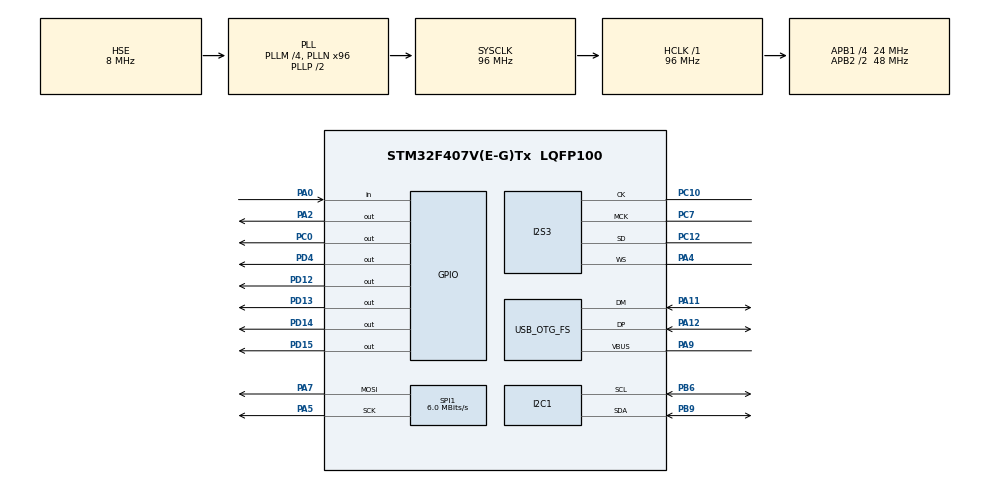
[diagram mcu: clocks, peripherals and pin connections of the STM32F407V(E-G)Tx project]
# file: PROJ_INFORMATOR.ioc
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Dma.Request0=SPI3_TX
Dma.SPI3_TX.0.Direction=DMA_MEMORY_TO_PERIPH
Dma.SPI3_TX.0.FIFOMode=DMA_FIFOMODE_ENABLE
Dma.SPI3_TX.0.FIFOThreshold=DMA_FIFO_THRESHOLD_FULL
Dma.SPI3_TX.0.Instance=DMA1_Stream5
Dma.SPI3_TX.0.MemBurst=DMA_MBURST_SINGLE
Dma.SPI3_TX.0.MemDataAlignment=DMA_MDATAALIGN_HALFWORD
Dma.SPI3_TX.0.MemInc=DMA_MINC_ENABLE
Dma.SPI3_TX.0.Mode=DMA_CIRCULAR
Dma.SPI3_TX.0.PeriphBurst=DMA_PBURST_SINGLE
Dma.SPI3_TX.0.PeriphDataAlignment=DMA_PDATAALIGN_HALFWORD
Dma.SPI3_TX.0.PeriphInc=DMA_PINC_DISABLE
Dma.SPI3_TX.0.Priority=DMA_PRIORITY_LOW
FREERTOS.Tasks01=defaultTask,0,128,StartDefaultTask,Default,NULL,Dynamic,NULL,NULL;myTask02,0,128,StartTask02,Default,NULL,Dynamic,NULL,NULL;myTask03,0,128,StartTask03,Default,NULL,Dynamic,NULL,NULL;myTask04,0,128,StartTask04,Default,NULL,Dynamic,NULL,NULL
I2S3.AudioFreq=I2S_AUDIOFREQ_44K
I2S3.ErrorAudioFreq=1.35 %
I2S3.FullDuplexMode=I2S_FULLDUPLEXMODE_DISABLE
I2S3.Instance=SPI$Index
I2S3.RealAudioFreq=44.596 KHz
I2S3.VirtualMode=I2S_MODE_MASTER
Mcu.Family=STM32F4
Mcu.Name=STM32F407V(E-G)Tx
Mcu.Package=LQFP100
NVIC.DMA1_Stream5_IRQn=true\:5\:0\:false\:false\:true\:true\:false\:true
NVIC.OTG_FS_IRQn=true\:5\:0\:false\:false\:true\:true\:false\:true
NVIC.PriorityGroup=NVIC_PRIORITYGROUP_4
NVIC.TIM6_DAC_IRQn=true\:0\:0\:false\:false\:true\:false\:false\:true
NVIC.TimeBase=TIM6_DAC_IRQn
NVIC.TimeBaseIP=TIM6
PA0-WKUP.Signal=GPIO_Input
PA11.Mode=Host_Only
PA11.Signal=USB_OTG_FS_DM
PA12.Mode=Host_Only
PA12.Signal=USB_OTG_FS_DP
PA13.Mode=Serial_Wire
PA13.Signal=SYS_JTMS-SWDIO
PA14.Mode=Serial_Wire
PA14.Signal=SYS_JTCK-SWCLK
PA2.Signal=GPIO_Output
PA4.Mode=Half_Duplex_Master
PA4.Signal=I2S3_WS
PA5.Mode=TX_Only_Simplex_Unidirect_Master
PA5.Signal=SPI1_SCK
PA7.Mode=TX_Only_Simplex_Unidirect_Master
PA7.Signal=SPI1_MOSI
PA9.Mode=Activate_VBUS
PA9.Signal=USB_OTG_FS_VBUS
PB6.Mode=I2C
PB6.Signal=I2C1_SCL
PB9.Mode=I2C
PB9.Signal=I2C1_SDA
PC0.PinState=GPIO_PIN_SET
PC0.Signal=GPIO_Output
PC10.Mode=Half_Duplex_Master
PC10.Signal=I2S3_CK
PC12.Mode=Half_Duplex_Master
PC12.Signal=I2S3_SD
PC7.Mode=Master_Clock_Activated
PC7.Signal=I2S3_MCK
PD12.Signal=GPIO_Output
PD13.Signal=GPIO_Output
PD14.Signal=GPIO_Output
PD15.Signal=GPIO_Output
PD4.Signal=GPIO_Output
PH0-OSC_IN.Mode=HSE-External-Oscillator
PH0-OSC_IN.Signal=RCC_OSC_IN
PH1-OSC_OUT.Mode=HSE-External-Oscillator
PH1-OSC_OUT.Signal=RCC_OSC_OUT
ProjectManager.HeapSize=0x200
ProjectManager.StackSize=0x400
ProjectManager.TargetToolchain=STM32CubeIDE
RCC.48MHZClocksFreq_Value=48000000
RCC.AHBFreq_Value=96000000
RCC.APB1CLKDivider=RCC_HCLK_DIV4
RCC.APB1Freq_Value=24000000
RCC.APB1TimFreq_Value=48000000
RCC.APB2CLKDivider=RCC_HCLK_DIV2
RCC.APB2Freq_Value=48000000
RCC.APB2TimFreq_Value=96000000
RCC.CortexFreq_Value=96000000
RCC.HCLKFreq_Value=96000000
RCC.HSE_VALUE=8000000
RCC.HSI_VALUE=16000000
RCC.LSE_VALUE=32768
RCC.PLLI2SN=137
RCC.PLLI2SR=6
RCC.PLLM=4
RCC.PLLN=96
RCC.SYSCLKFreq_VALUE=96000000
RCC.SYSCLKSource=RCC_SYSCLKSOURCE_PLLCLK
RCC.VCOOutputFreq_Value=192000000
SPI1.BaudRatePrescaler=SPI_BAUDRATEPRESCALER_8
SPI1.CalculateBaudRate=6.0 MBits/s
SPI1.DataSize=SPI_DATASIZE_16BIT
SPI1.Direction=SPI_DIRECTION_2LINES
SPI1.Mode=SPI_MODE_MASTER
SPI1.VirtualType=VM_MASTER
USB_HOST.USBH_HandleTypeDef-MSC_FS=hUsbHostFS
USB_HOST.USBH_KEEP_CFG_DESCRIPTOR-MSC_FS=0
USB_HOST.USBH_MAX_SIZE_CONFIGURATION-MSC_FS=512
USB_HOST.USBH_PROCESS_STACK_SIZE-MSC_FS=1024
USB_HOST.USBH_USE_OS-MSC_FS=0
USB_HOST.VirtualModeFS=Msc
USB_OTG_FS.VirtualMode=Host_Only
USB_OTG_FS.phy_itface=HCD_PHY_EMBEDDED
VP_FATFS_VS_USB.Mode=USB
VP_FREERTOS_VS_CMSIS_V1.Mode=CMSIS_V1
VP_SYS_VS_tim6.Mode=TIM6
VP_USB_HOST_VS_USB_HOST_MSC_FS.Mode=MSC_FS
board=custom

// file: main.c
/* USER CODE BEGIN Header */
/**
  ******************************************************************************
  * @file           : main.c
  * @brief          : Main program body
  ******************************************************************************
  * @attention
  *
  * <h2><center>&copy; Copyright (c) 2024 STMicroelectronics.
  * All rights reserved.</center></h2>
  *
  * This software component is licensed by ST under Ultimate Liberty license
  * SLA0044, the "License"; You may not use this file except in compliance with
  * the License. You may obtain a copy of the License at:
  *                             www.st.com/SLA0044
  *
  ******************************************************************************
  */
/* USER CODE END Header */
#include "main.h"
#include "cmsis_os.h"
#include "fatfs.h"
#include "usb_host.h"

/* USER CODE BEGIN Includes */
#include "audioI2S.h"
#include "MY_CS43L22.h"
#include "wav_player.h"
#include "scroll.h"
#include "delay.h"
#include "ledmatrix.h"
#include "font.h"
#include "7219.h"
/* USER CODE END Includes */

/* USER CODE BEGIN PTD */
extern ApplicationTypeDef Appli_state;
USBH_HandleTypeDef hUsbHostFS;
/* USER CODE END PTD */

I2C_HandleTypeDef hi2c1;

I2S_HandleTypeDef hi2s3;
DMA_HandleTypeDef hdma_spi3_tx;

SPI_HandleTypeDef hspi1;

osThreadId defaultTaskHandle;
osThreadId myTask02Handle;
osThreadId myTask03Handle;
osThreadId myTask04Handle;
/* USER CODE BEGIN PV */

// Файлы воспроизведения, хранящиеся на флешке
#define WAV_FILE1 "1.wav"
#define WAV_FILE2 "2.wav"
#define WAV_FILE3 "3.wav"
#define WAV_FILE4 "4.wav"

/* USER CODE END PV */

void SystemClock_Config(void);
static void MX_GPIO_Init(void);
static void MX_DMA_Init(void);
static void MX_I2C1_Init(void);
static void MX_I2S3_Init(void);
static void MX_SPI1_Init(void);
void StartDefaultTask(void const * argument);
void StartTask02(void const * argument);
void StartTask03(void const * argument);
void StartTask04(void const * argument);

/* USER CODE BEGIN PFP */
bool isSdCardMounted = 0; // Флаг для монтирования флешки
int flag_audio = 0;		// Флаг установки и запуска аудиозаписи

/* USER CODE END PFP */

int main(void)
{

  /* MCU Configuration--------------------------------------------------------*/

  /* Reset of all peripherals, Initializes the Flash interface and the Systick. */
  HAL_Init();

  /* Configure the system clock */
  SystemClock_Config();

  /* Initialize all configured peripherals */
  MX_GPIO_Init();
  MX_DMA_Init();
  MX_I2C1_Init();
  MX_I2S3_Init();
  MX_FATFS_Init();
  MX_SPI1_Init();
  /* USER CODE BEGIN 2 */

  CS43_Init(hi2c1, MODE_I2S); // Иницализация микросхемы CS43L52
  CS43_SetVolume(225);
  CS43_Enable_RightLeft(CS43_RIGHT_LEFT);	// Включены правый и левый каналы динамика

  audioI2S_setHandle(&hi2s3);

  init();  // Инициализация MAX7219

  /* USER CODE END 2 */

  /* Create the thread(s) */
  /* definition and creation of defaultTask */
  // Задача инициализации USB-хоста

  osThreadDef(defaultTask, StartDefaultTask, osPriorityNormal, 0, 128);
  defaultTaskHandle = osThreadCreate(osThread(defaultTask), NULL);

  /* definition and creation of myTask02 */
  // Задача по отображению информации на индикаторе

  osThreadDef(myTask02, StartTask02, osPriorityNormal, 0, 128);
  myTask02Handle = osThreadCreate(osThread(myTask02), NULL);

  /* definition and creation of myTask03 */
  // Задача по запуску работы USB-хоста

  osThreadDef(myTask03, StartTask03, osPriorityNormal, 0, 128);
  myTask03Handle = osThreadCreate(osThread(myTask03), NULL);

  /* definition and creation of myTask04 */
  // Задача воспроизведения аудиофайла

  osThreadDef(myTask04, StartTask04, osPriorityHigh, 0, 128);
  myTask04Handle = osThreadCreate(osThread(myTask04), NULL);

  /* Start scheduler */
  osKernelStart();

  /* We should never get here as control is now taken by the scheduler */
  /* Infinite loop */
  while (1)
  {

  }
}

void SystemClock_Config(void)
{
  RCC_OscInitTypeDef RCC_OscInitStruct = {0};
  RCC_ClkInitTypeDef RCC_ClkInitStruct = {0};
  RCC_PeriphCLKInitTypeDef PeriphClkInitStruct = {0};

  /** Configure the main internal regulator output voltage
  */
  __HAL_RCC_PWR_CLK_ENABLE();
  __HAL_PWR_VOLTAGESCALING_CONFIG(PWR_REGULATOR_VOLTAGE_SCALE1);
  /** Initializes the RCC Oscillators according to the specified parameters
  * in the RCC_OscInitTypeDef structure.
  */
  RCC_OscInitStruct.OscillatorType = RCC_OSCILLATORTYPE_HSE;
  RCC_OscInitStruct.HSEState = RCC_HSE_ON;
  RCC_OscInitStruct.PLL.PLLState = RCC_PLL_ON;
  RCC_OscInitStruct.PLL.PLLSource = RCC_PLLSOURCE_HSE;
  RCC_OscInitStruct.PLL.PLLM = 4;
  RCC_OscInitStruct.PLL.PLLN = 96;
  RCC_OscInitStruct.PLL.PLLP = RCC_PLLP_DIV2;
  RCC_OscInitStruct.PLL.PLLQ = 4;
  if (HAL_RCC_OscConfig(&RCC_OscInitStruct) != HAL_OK)
  {
    Error_Handler();
  }
  /** Initializes the CPU, AHB and APB buses clocks
  */
  RCC_ClkInitStruct.ClockType = RCC_CLOCKTYPE_HCLK|RCC_CLOCKTYPE_SYSCLK
                              |RCC_CLOCKTYPE_PCLK1|RCC_CLOCKTYPE_PCLK2;
  RCC_ClkInitStruct.SYSCLKSource = RCC_SYSCLKSOURCE_PLLCLK;
  RCC_ClkInitStruct.AHBCLKDivider = RCC_SYSCLK_DIV1;
  RCC_ClkInitStruct.APB1CLKDivider = RCC_HCLK_DIV4;
  RCC_ClkInitStruct.APB2CLKDivider = RCC_HCLK_DIV2;

  if (HAL_RCC_ClockConfig(&RCC_ClkInitStruct, FLASH_LATENCY_3) != HAL_OK)
  {
    Error_Handler();
  }
  PeriphClkInitStruct.PeriphClockSelection = RCC_PERIPHCLK_I2S;
  PeriphClkInitStruct.PLLI2S.PLLI2SN = 137;
  PeriphClkInitStruct.PLLI2S.PLLI2SR = 6;
  if (HAL_RCCEx_PeriphCLKConfig(&PeriphClkInitStruct) != HAL_OK)
  {
    Error_Handler();
  }
}

static void MX_I2C1_Init(void)
{

  hi2c1.Instance = I2C1;
  hi2c1.Init.ClockSpeed = 100000;
  hi2c1.Init.DutyCycle = I2C_DUTYCYCLE_2;
  hi2c1.Init.OwnAddress1 = 0;
  hi2c1.Init.AddressingMode = I2C_ADDRESSINGMODE_7BIT;
  hi2c1.Init.DualAddressMode = I2C_DUALADDRESS_DISABLE;
  hi2c1.Init.OwnAddress2 = 0;
  hi2c1.Init.GeneralCallMode = I2C_GENERALCALL_DISABLE;
  hi2c1.Init.NoStretchMode = I2C_NOSTRETCH_DISABLE;
  if (HAL_I2C_Init(&hi2c1) != HAL_OK)
  {
    Error_Handler();
  }

}

static void MX_I2S3_Init(void)
{

  hi2s3.Instance = SPI3;
  hi2s3.Init.Mode = I2S_MODE_MASTER_TX;
  hi2s3.Init.Standard = I2S_STANDARD_PHILIPS;
  hi2s3.Init.DataFormat = I2S_DATAFORMAT_16B;
  hi2s3.Init.MCLKOutput = I2S_MCLKOUTPUT_ENABLE;
  hi2s3.Init.AudioFreq = I2S_AUDIOFREQ_44K;
  hi2s3.Init.CPOL = I2S_CPOL_LOW;
  hi2s3.Init.ClockSource = I2S_CLOCK_PLL;
  hi2s3.Init.FullDuplexMode = I2S_FULLDUPLEXMODE_DISABLE;
  if (HAL_I2S_Init(&hi2s3) != HAL_OK)
  {
    Error_Handler();
  }

}

static void MX_SPI1_Init(void)
{

  /* SPI1 parameter configuration*/
  hspi1.Instance = SPI1;
  hspi1.Init.Mode = SPI_MODE_MASTER;
  hspi1.Init.Direction = SPI_DIRECTION_2LINES;
  hspi1.Init.DataSize = SPI_DATASIZE_16BIT;
  hspi1.Init.CLKPolarity = SPI_POLARITY_LOW;
  hspi1.Init.CLKPhase = SPI_PHASE_1EDGE;
  hspi1.Init.NSS = SPI_NSS_SOFT;
  hspi1.Init.BaudRatePrescaler = SPI_BAUDRATEPRESCALER_8;
  hspi1.Init.FirstBit = SPI_FIRSTBIT_MSB;
  hspi1.Init.TIMode = SPI_TIMODE_DISABLE;
  hspi1.Init.CRCCalculation = SPI_CRCCALCULATION_DISABLE;
  hspi1.Init.CRCPolynomial = 10;
  if (HAL_SPI_Init(&hspi1) != HAL_OK)
  {
    Error_Handler();
  }

}

static void MX_DMA_Init(void)
{

  /* DMA controller clock enable */
  __HAL_RCC_DMA1_CLK_ENABLE();

  /* DMA interrupt init */
  /* DMA1_Stream5_IRQn interrupt configuration */
  HAL_NVIC_SetPriority(DMA1_Stream5_IRQn, 5, 0);
  HAL_NVIC_EnableIRQ(DMA1_Stream5_IRQn);

}

static void MX_GPIO_Init(void)
{
  GPIO_InitTypeDef GPIO_InitStruct = {0};

  /* GPIO Ports Clock Enable */
  __HAL_RCC_GPIOH_CLK_ENABLE();
  __HAL_RCC_GPIOC_CLK_ENABLE();
  __HAL_RCC_GPIOA_CLK_ENABLE();
  __HAL_RCC_GPIOD_CLK_ENABLE();
  __HAL_RCC_GPIOB_CLK_ENABLE();

  /*Configure GPIO pin Output Level */
  HAL_GPIO_WritePin(GPIOC, GPIO_PIN_0, GPIO_PIN_SET);

  /*Configure GPIO pin Output Level */
  HAL_GPIO_WritePin(GPIOA, GPIO_PIN_2, GPIO_PIN_RESET);

  /*Configure GPIO pin Output Level */
  HAL_GPIO_WritePin(GPIOD, GPIO_PIN_12|GPIO_PIN_13|GPIO_PIN_14|GPIO_PIN_15
                          |GPIO_PIN_4, GPIO_PIN_RESET);

  /*Configure GPIO pin : PC0 */
  GPIO_InitStruct.Pin = GPIO_PIN_0;
  GPIO_InitStruct.Mode = GPIO_MODE_OUTPUT_PP;
  GPIO_InitStruct.Pull = GPIO_NOPULL;
  GPIO_InitStruct.Speed = GPIO_SPEED_FREQ_LOW;
  HAL_GPIO_Init(GPIOC, &GPIO_InitStruct);

  /*Configure GPIO pin : PA0 */
  GPIO_InitStruct.Pin = GPIO_PIN_0;
  GPIO_InitStruct.Mode = GPIO_MODE_INPUT;
  GPIO_InitStruct.Pull = GPIO_NOPULL;
  HAL_GPIO_Init(GPIOA, &GPIO_InitStruct);

  /*Configure GPIO pin : PA2 */
  GPIO_InitStruct.Pin = GPIO_PIN_2;
  GPIO_InitStruct.Mode = GPIO_MODE_OUTPUT_PP;
  GPIO_InitStruct.Pull = GPIO_NOPULL;
  GPIO_InitStruct.Speed = GPIO_SPEED_FREQ_LOW;
  HAL_GPIO_Init(GPIOA, &GPIO_InitStruct);

  /*Configure GPIO pins : PD12 PD13 PD14 PD15
                           PD4 */
  GPIO_InitStruct.Pin = GPIO_PIN_12|GPIO_PIN_13|GPIO_PIN_14|GPIO_PIN_15
                          |GPIO_PIN_4;
  GPIO_InitStruct.Mode = GPIO_MODE_OUTPUT_PP;
  GPIO_InitStruct.Pull = GPIO_NOPULL;
  GPIO_InitStruct.Speed = GPIO_SPEED_FREQ_LOW;
  HAL_GPIO_Init(GPIOD, &GPIO_InitStruct);

}

void StartDefaultTask(void const * argument)
{
  /* init code for USB_HOST */
  MX_USB_HOST_Init();
  for(;;)
  {
    osDelay(1);
  }
}

void StartTask02(void const * argument)
{
  /* USER CODE BEGIN StartTask02 */
  /* Infinite loop */

  for(;;)
  {
	  //Piter_bus(); // Воспроизведение остановок Питерского маршрута (автобус)
	  Nevelsk_bus(); // Воспроизведение остановок Невельского маршрута (автобус)

	  osDelay(100);
  }

  /* USER CODE END StartTask02 */
}

void StartTask03(void const * argument)
{
  /* USER CODE BEGIN StartTask03 */
  /* Infinite loop */
  for(;;)
  {
	  USBH_Process(&hUsbHostFS);
	  osDelay(10);
  }
  /* USER CODE END StartTask03 */
}

void StartTask04(void const * argument)
{
  /* USER CODE BEGIN StartTask04 */
  /* Infinite loop */
  for(;;)
  {
	  // Запуск информатора по кнопке. Если кнопка не нажата, информатор выключен
	  while(HAL_GPIO_ReadPin(GPIOA, GPIO_PIN_0) && flag_audio == 0)
	  {
		  flag_audio = 1;
	  }

	  // Воспроизведение аудио после нажатия
	  if(!HAL_GPIO_ReadPin(GPIOA, GPIO_PIN_0) && flag_audio == 1)
	  {
		  // Если флешка готова к работе
		  if(Appli_state == APPLICATION_START)
		  {
			  HAL_GPIO_WritePin(GPIOD, GPIO_PIN_12, GPIO_PIN_SET); // Включаем светодиод
	      }

		  // Если флешка отсутствует или нерабочая
	      else if(Appli_state == APPLICATION_DISCONNECT)
	      {
	          	HAL_GPIO_WritePin(GPIOD, GPIO_PIN_12, GPIO_PIN_RESET); // Выключаем светодиод
	          	f_mount(NULL, (TCHAR const*)"", 0);		// Пустое форматирование
	          	isSdCardMounted = 0;
	      }

		  // Если флешка подключена и работает
	      if(Appli_state == APPLICATION_READY)
	      {
	    	  if(!isSdCardMounted)
	          {
	          		f_mount(&USBHFatFS, (const TCHAR*)USBHPath, 0); // Монтирование флешки
	          		isSdCardMounted = 1;
	          }

	          wavPlayer_fileSelect(WAV_FILE4); // Выбираем файл на флешке
	          wavPlayer_play();				   // Непосредственное воспроизведение

	          // Ожидаем окончания воспроизведения
	          while(!wavPlayer_isFinished())
	          {
	        	  wavPlayer_process();
	          }
	      }

	      osDelay(1);
	 }
  }
  /* USER CODE END StartTask04 */
}

 /**
  * @brief  Period elapsed callback in non blocking mode
  * @note   This function is called  when TIM6 interrupt took place, inside
  * HAL_TIM_IRQHandler(). It makes a direct call to HAL_IncTick() to increment
  * a global variable "uwTick" used as application time base.
  * @param  htim : TIM handle
  * @retval None
  */
void HAL_TIM_PeriodElapsedCallback(TIM_HandleTypeDef *htim)
{
  if (htim->Instance == TIM6) {
    HAL_IncTick();
  }
}

void Error_Handler(void)
{
  __disable_irq();
  while (1)
  {
  }
}

/************************ (C) COPYRIGHT STMicroelectronics *****END OF FILE****/
